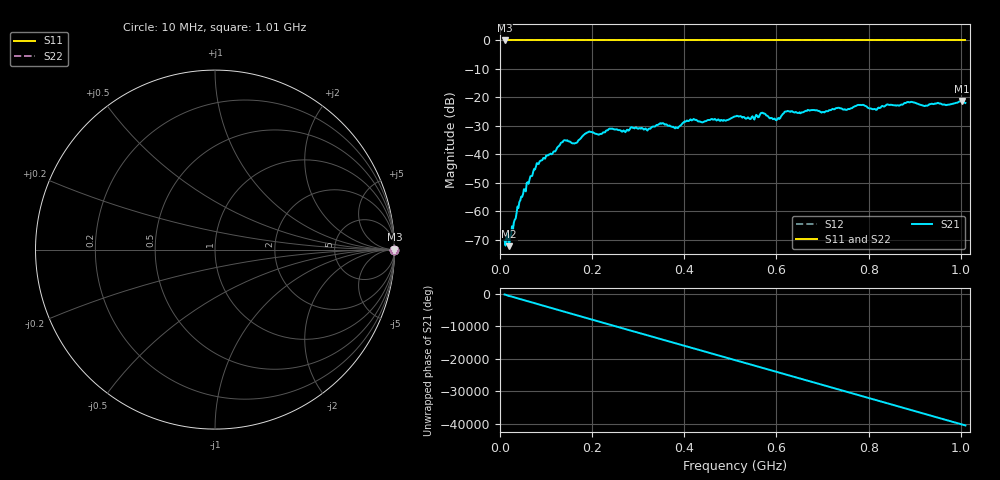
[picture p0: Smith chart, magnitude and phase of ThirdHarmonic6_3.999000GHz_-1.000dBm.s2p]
! 8/17/2025 2:17:02 PM
! C:\ANRITSUVNA\TEMP\TEMP.S2P
! CHANNEL.1
! TR.MEASUREMENT
! RAW.DATA
! RF.CORRECTION.OFF
! AVERAGING.OFF
! IF.BANDWIDTH: 5KHZ
! SWEEPTYPE:  FREQ.SWEEP(Linear)
! Reference Plane Port Info
! PORT:  PORT1  PORT2
! DISTANCE:  0  m  0  m
! TIME:  0  s  0  s
! PHASE.OFFSET:  0  deg.  0  deg.
! LOSS:  0  dB  0  dB
! REF.LOSS:  0  dB  0  dB
! REF.FREQ:  0  Hz  0  Hz
! Power Info
! POWER:  -20  dBm  -20  dBm
! EFF.POWER:  -20  dBm  -20  dBm
! SOURCE.ATTEN:  0  dB  0  dB
! TEST.ATTEN:  0  dB  0  dB
# GHZ S RI R 50.0
! FREQ.GHZ  S11RE  S11IM  S21RE  S21IM  S12RE  S12IM  S22RE  S22IM
!; PortSelection: Port_12
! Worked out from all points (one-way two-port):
!   501 points, 10 MHz to 1.01 GHz, reference 50 ohm
!   highest |S21| = -21.27 dB at 1.002 GHz (marker M1); lowest = -72.2 dB at 20 MHz (marker M2)
!   lowest |S11| = 0.0 dB at 10 MHz (marker M3)
!   |S11| at or under -10 dB: nowhere
!   |S22| runs from 0.0 to 0.0 dB; largest |S21 - S12| = 1.1
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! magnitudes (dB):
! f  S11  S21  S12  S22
! 10 MHz  0.0  -70.2  0.0  0.0
! 20 MHz  0.0  -72.2  0.0  0.0
! 48 MHz  0.0  -54.9  0.0  0.0
! 82 MHz  0.0  -43.3  0.0  0.0
! 136 MHz  0.0  -35.7  0.0  0.0
! 164 MHz  0.0  -36.0  0.0  0.0
! 178 MHz  0.0  -33.8  0.0  0.0
! 192 MHz  0.0  -32.1  0.0  0.0
! 344 MHz  0.0  -29.5  0.0  0.0
! 382 MHz  0.0  -30.6  0.0  0.0
! 416 MHz  0.0  -28.1  0.0  0.0
! 510 MHz  0.0  -26.7  0.0  0.0
! 548 MHz  0.0  -26.6  0.0  0.0
! 570 MHz  0.0  -25.4  0.0  0.0
! 602 MHz  0.0  -27.5  0.0  0.0
! 622 MHz  0.0  -24.9  0.0  0.0
! 678 MHz  0.0  -24.4  0.0  0.0
! 784 MHz  0.0  -22.7  0.0  0.0
! 814 MHz  0.0  -24.1  0.0  0.0
! 844 MHz  0.0  -22.6  0.0  0.0
! 1.002 GHz  0.0  -21.3  0.0  0.0
! 1.01 GHz  0.0  -21.9  0.0  0.0
